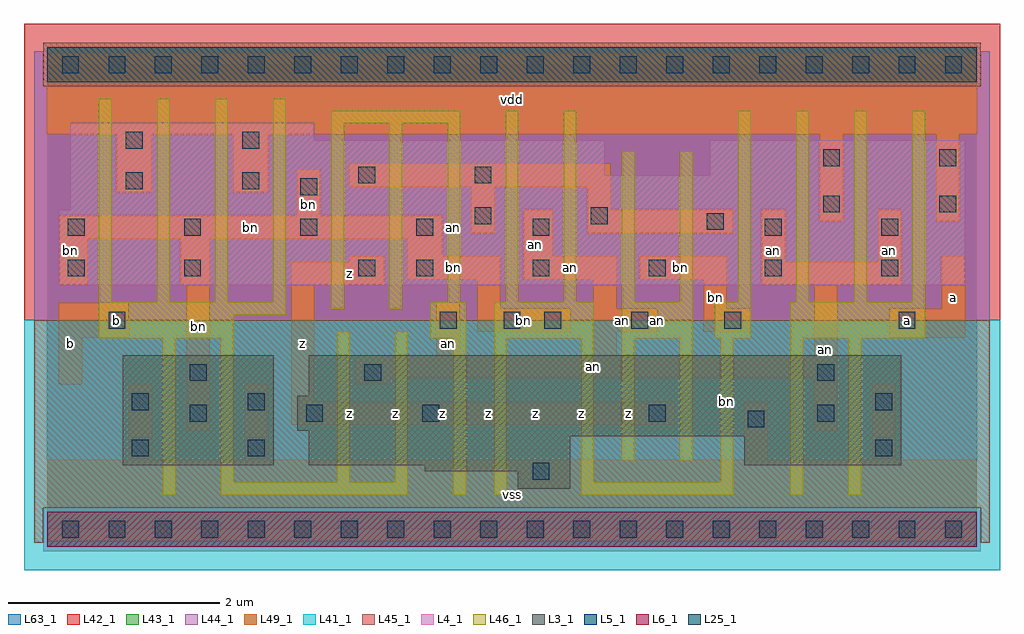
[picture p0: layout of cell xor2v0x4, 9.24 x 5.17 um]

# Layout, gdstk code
import gdstk
lib = gdstk.Library(unit=1e-6, precision=1e-09)
def R(c, l, rs):  # rectangles x0, y0, x1, y1
    for r in rs: c.add(gdstk.rectangle(r[:2], r[2:], *l))
def A(c, l, x, y, w, h, nx, ny, dx, dy):  # array of equal rectangles
    R(c, l, [(x+i*dx, y+j*dy, x+i*dx+w, y+j*dy+h) for i in range(nx) for j in range(ny)])
L3_1 = (3, 1)
L4_1 = (4, 1)
L5_1 = (5, 1)
L6_1 = (6, 1)
L25_1 = (25, 1)
L41_1 = (41, 1)
L42_1 = (42, 1)
L43_1 = (43, 1)
L44_1 = (44, 1)
L45_1 = (45, 1)
L46_1 = (46, 1)
L49_1 = (49, 1)
L63_1 = (63, 1)

xor2v0x4 = lib.new_cell('xor2v0x4')
R(xor2v0x4, L3_1, [(4.455,0.385,4.95,0.55), (3.575,0.55,4.95,0.605), (0.715,0.605,2.145,1.65), (2.475,0.605,4.95,0.88), (6.6,0.605,8.085,0.88), (2.475,0.88,8.085,0.935), (2.365,0.935,8.085,1.265), (2.475,1.265,8.085,1.65)])
R(xor2v0x4, L4_1, [(0.11,2.31,8.69,3.025), (0.22,3.025,8.69,3.355), (0.22,3.355,5.28,3.685), (6.27,3.355,8.69,3.685), (0.22,3.685,2.53,3.85)])
R(xor2v0x4, L5_1, [(0,4.235,8.8,4.565)])
R(xor2v0x4, L6_1, [(0,-0.165,8.8,0.165)])
A(xor2v0x4, L25_1, 0.14, -0.08, 0.16, 0.16, 20, 2, 0.44, 4.4)
A(xor2v0x4, L25_1, 1.35, 1.02, 0.16, 0.16, 3, 1, 1.1, 0)
A(xor2v0x4, L25_1, 3.495, 2.395, 0.16, 0.16, 5, 1, 1.1, 0)
A(xor2v0x4, L25_1, 0.195, 2.78, 0.16, 0.16, 5, 1, 1.1, 0)
R(xor2v0x4, L25_1, [(4.595,0.47,4.755,0.63), (0.8,0.69,0.96,0.85), (1.9,0.69,2.06,0.85), (7.84,0.69,8,0.85), (6.63,0.965,6.79,1.125), (5.695,1.02,5.855,1.18), (7.29,1.02,7.45,1.18), (0.8,1.13,0.96,1.29), (1.9,1.13,2.06,1.29), (7.84,1.13,8,1.29), (1.35,1.405,1.51,1.565), (3,1.405,3.16,1.565), (7.29,1.405,7.45,1.565), (0.58,1.9,0.74,2.06), (3.715,1.9,3.875,2.06), (4.32,1.9,4.48,2.06), (4.705,1.9,4.865,2.06), (5.53,1.9,5.69,2.06), (6.41,1.9,6.57,2.06), (8.06,1.9,8.22,2.06), (0.195,2.395,0.355,2.555), (1.295,2.395,1.455,2.555), (2.945,2.395,3.105,2.555), (6.795,2.78,6.955,2.94), (7.895,2.78,8.055,2.94), (6.245,2.835,6.405,2.995), (4.045,2.89,4.205,3.05), (5.145,2.89,5.305,3.05), (7.345,3,7.505,3.16), (8.445,3,8.605,3.16), (2.395,3.165,2.555,3.325), (0.745,3.22,0.905,3.38), (1.845,3.22,2.005,3.38), (2.945,3.275,3.105,3.435), (4.045,3.275,4.205,3.435), (7.345,3.44,7.505,3.6), (8.445,3.44,8.605,3.6), (0.745,3.605,0.905,3.765), (1.845,3.605,2.005,3.765)])
R(xor2v0x4, L41_1, [(-0.22,-0.385,9.02,1.98)])
R(xor2v0x4, L42_1, [(-0.22,1.98,9.02,4.785)])
R(xor2v0x4, L43_1, [(0,-0.165,8.8,0.165), (4.455,0.385,4.95,0.55), (3.575,0.55,4.95,0.605), (0.715,0.605,2.145,1.65), (2.475,0.605,4.95,0.88), (6.6,0.605,8.085,0.88), (2.475,0.88,8.085,0.935), (2.365,0.935,8.085,1.265), (2.475,1.265,8.085,1.65), (0.11,2.31,8.69,3.025), (0.22,3.025,8.69,3.355), (0.22,3.355,5.28,3.685), (6.27,3.355,8.69,3.685), (0.22,3.685,2.53,3.85), (0,4.235,8.8,4.565)])
R(xor2v0x4, L44_1, [(-0.04,-0.205,8.84,0.205), (-0.125,1.98,8.925,4.195), (-0.125,4.195,-0.04,4.525), (8.84,4.195,8.925,4.525)])
R(xor2v0x4, L45_1, [(-0.125,-0.125,-0.04,0.205), (8.84,-0.125,8.925,0.205), (-0.125,0.205,8.925,1.98), (-0.04,4.195,8.84,4.605)])
A(xor2v0x4, L46_1, 0.49, 2.15, 0.12, 1.925, 4, 1, 0.55, 0)
A(xor2v0x4, L46_1, 6.54, 2.15, 0.12, 1.815, 4, 1, 0.55, 0)
R(xor2v0x4, L46_1, [(1.095,0.325,1.215,1.81), (1.645,0.325,3.415,0.445), (3.845,0.325,3.965,1.81), (4.23,0.325,4.35,1.81), (5.055,0.325,6.495,0.445), (7.035,0.325,7.155,1.81), (7.585,0.325,7.705,1.81), (1.645,0.445,1.765,1.81), (2.745,0.445,2.865,1.875), (3.295,0.445,3.415,1.875), (5.055,0.445,5.175,1.81), (6.375,0.445,6.495,1.81), (5.44,0.655,5.56,1.81), (5.99,0.655,6.11,1.81), (0.49,1.81,1.765,2.03), (3.625,1.81,3.965,2.15), (4.23,1.81,5.175,2.15), (5.44,1.81,6.11,2.15), (6.32,1.81,6.66,2.15), (7.035,1.81,8.31,2.15), (0.49,2.03,2.26,2.15), (2.69,2.085,2.81,3.845), (3.24,2.085,3.36,3.845), (3.79,2.15,3.91,3.845), (4.34,2.15,4.46,3.965), (4.89,2.15,5.01,3.965), (5.44,2.15,5.56,3.58), (5.99,2.15,6.11,3.58), (2.69,3.845,3.91,3.965)])
R(xor2v0x4, L49_1, [(0,-0.11,8.8,0.66), (0.77,0.66,0.99,1.375), (1.87,0.66,2.09,1.375), (6.6,0.66,6.82,1.21), (7.81,0.66,8.03,1.375), (1.32,0.935,1.54,2.31), (7.26,0.935,7.48,1.43), (2.31,0.99,5.94,1.21), (2.31,1.21,2.53,2.31), (0.11,1.375,0.33,1.815), (2.915,1.375,3.245,1.43), (2.915,1.43,7.48,1.65), (3.685,1.65,3.905,2.145), (5.17,1.65,5.39,1.87), (7.26,1.65,7.48,2.31), (0.11,1.815,0.77,2.145), (7.975,1.815,8.69,2.09), (4.07,1.87,4.95,2.09), (5.17,1.87,5.775,2.09), (6.215,1.87,6.655,2.09), (4.07,2.09,4.29,2.365), (5.17,2.09,5.39,2.365), (6.215,2.09,6.435,2.365), (8.47,2.09,8.69,2.585), (0.11,2.31,0.385,2.75), (1.265,2.31,1.54,2.75), (2.31,2.31,3.19,2.53), (6.765,2.31,8.085,2.53), (3.41,2.365,4.29,2.585), (4.51,2.365,5.39,2.585), (5.61,2.365,6.435,2.585), (2.86,2.53,3.19,2.585), (6.765,2.53,6.985,3.025), (7.865,2.53,8.085,3.025), (3.41,2.585,3.74,2.75), (4.51,2.585,4.785,3.025), (0.11,2.75,3.74,2.97), (4.015,2.805,4.235,3.245), (5.115,2.805,6.49,3.025), (7.315,2.915,7.535,3.74), (8.415,2.915,8.635,3.74), (2.365,2.97,2.585,3.41), (5.115,3.025,5.335,3.245), (0.66,3.19,0.99,3.74), (1.76,3.19,2.09,3.74), (2.86,3.245,5.335,3.465), (0,3.74,8.8,4.51)])
R(xor2v0x4, L63_1, [(0,0,8.8,4.4)])
xor2v0x4.add(gdstk.Label('an', (3.85,2.86), layer=46, texttype=1))
xor2v0x4.add(gdstk.Label('an', (5.775,1.98), layer=46, texttype=1))
xor2v0x4.add(gdstk.Label('bn', (6.435,1.21), layer=46, texttype=1))
xor2v0x4.add(gdstk.Label('b', (0.22,1.76), layer=49, texttype=1))
xor2v0x4.add(gdstk.Label('b', (0.66,1.98), layer=49, texttype=1))
xor2v0x4.add(gdstk.Label('bn', (0.22,2.64), layer=49, texttype=1))
xor2v0x4.add(gdstk.Label('bn', (1.43,1.925), layer=49, texttype=1))
xor2v0x4.add(gdstk.Label('z', (3.3,1.1), layer=49, texttype=1))
xor2v0x4.add(gdstk.Label('z', (2.86,1.1), layer=49, texttype=1))
xor2v0x4.add(gdstk.Label('z', (2.42,1.76), layer=49, texttype=1))
xor2v0x4.add(gdstk.Label('z', (2.86,2.42), layer=49, texttype=1))
xor2v0x4.add(gdstk.Label('bn', (2.475,3.08), layer=49, texttype=1))
xor2v0x4.add(gdstk.Label('vss', (4.4,0.33), layer=49, texttype=1))
xor2v0x4.add(gdstk.Label('z', (4.62,1.1), layer=49, texttype=1))
xor2v0x4.add(gdstk.Label('z', (5.06,1.1), layer=49, texttype=1))
xor2v0x4.add(gdstk.Label('z', (4.18,1.1), layer=49, texttype=1))
xor2v0x4.add(gdstk.Label('z', (3.74,1.1), layer=49, texttype=1))
xor2v0x4.add(gdstk.Label('an', (3.795,1.76), layer=49, texttype=1))
xor2v0x4.add(gdstk.Label('bn', (3.85,2.475), layer=49, texttype=1))
xor2v0x4.add(gdstk.Label('bn', (4.51,1.98), layer=49, texttype=1))
xor2v0x4.add(gdstk.Label('an', (4.62,2.695), layer=49, texttype=1))
xor2v0x4.add(gdstk.Label('bn', (1.925,2.86), layer=49, texttype=1))
xor2v0x4.add(gdstk.Label('vdd', (4.4,4.07), layer=49, texttype=1))
xor2v0x4.add(gdstk.Label('z', (5.5,1.1), layer=49, texttype=1))
xor2v0x4.add(gdstk.Label('an', (4.95,2.475), layer=49, texttype=1))
xor2v0x4.add(gdstk.Label('an', (5.445,1.98), layer=49, texttype=1))
xor2v0x4.add(gdstk.Label('bn', (6.325,2.2), layer=49, texttype=1))
xor2v0x4.add(gdstk.Label('bn', (5.995,2.475), layer=49, texttype=1))
xor2v0x4.add(gdstk.Label('an', (6.875,2.64), layer=49, texttype=1))
xor2v0x4.add(gdstk.Label('an', (5.17,1.54), layer=49, texttype=1))
xor2v0x4.add(gdstk.Label('an', (7.37,1.705), layer=49, texttype=1))
xor2v0x4.add(gdstk.Label('a', (8.58,2.2), layer=49, texttype=1))
xor2v0x4.add(gdstk.Label('a', (8.14,1.98), layer=49, texttype=1))
xor2v0x4.add(gdstk.Label('an', (7.975,2.64), layer=49, texttype=1))

lib.write_gds('xor2v0x4.gds')
